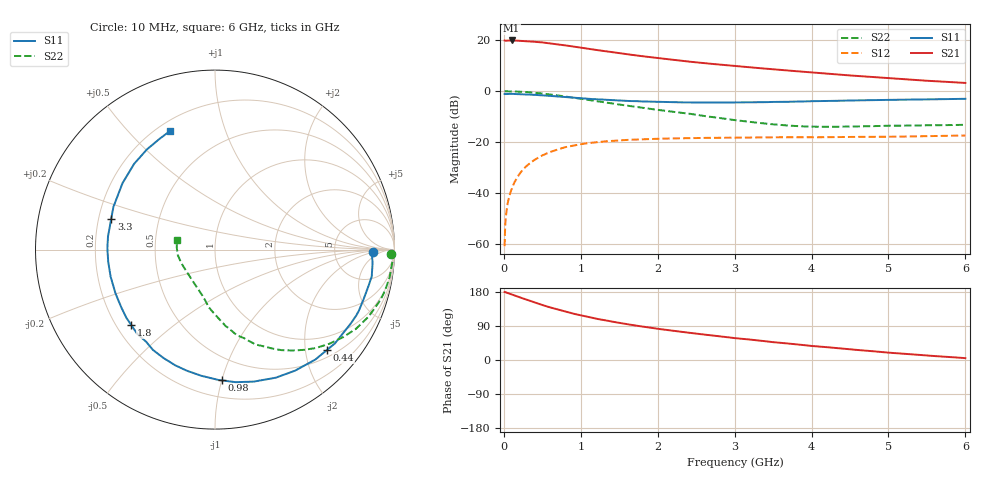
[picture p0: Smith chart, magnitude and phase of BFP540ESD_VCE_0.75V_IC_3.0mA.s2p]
! Infineon Technologies  Discrete & RF Semiconductors
! BFP540ESD
! VCE = 0.75 V,  IC =  3.0 mA
! Common Emitter S-Parameters:  Nov 2015
# GHz  S  MA  R  50
!  f  S11  S21  S12  S22
! GHz  MAG  ANG  MAG  ANG  MAG  ANG  MAG  ANG
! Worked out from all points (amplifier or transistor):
!   210 points, 10 MHz to 6 GHz, reference 50 ohm
!   highest |S21| = 19.9 dB at 100 MHz (marker M1)
!   |S21| within 3 dB of that: start of sweep to 1.039 GHz
!   unconditionally stable (mu >= 1): 3.799 GHz to end of sweep
!   at 185 MHz: K = 0.01, MSG = 26.6 dB, |S12| = -33.4 dB
!   at 1.52 GHz: K = 0.36, MSG = 17.1 dB, |S12| = -19.3 dB
!   at 6 GHz: K = 1.31, MAG = 7.0 dB, |S12| = -17.4 dB
!   S11 on the Smith chart (normalised r, x): 10 MHz: 15, -2; 440 MHz: 0.66, -2.47; 980 MHz: 0.32, -1.00; 1.8 GHz: 0.26, -0.36; 3.3 GHz: 0.25, +0.14; 6 GHz: 0.25, +0.66
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0.01  0.8781 -0.8  9.9 179.3  0.0009 81.5  0.9827 -1.3
0.02  0.8754 -2.3  9.781 179.0  0.0026 104.6  0.9942 -1.3
0.035  0.878 -3.6  9.826 177.8  0.0044 92.3  0.9931 -2.1
0.1  0.8859 -9.7  9.909 173.2  0.0118 85.4  0.9875 -6.0
0.26  0.8686 -24.9  9.675 161.8  0.0301 77.8  0.9673 -15.7
0.44  0.8379 -41.8  9.213 149.3  0.0486 68.6  0.919 -25.9
0.5  0.8294 -47.6  9.074 145.2  0.0546 66.0  0.9006 -29.4
0.6  0.8087 -56.5  8.668 138.8  0.0636 61.1  0.8634 -34.5
0.7  0.79 -64.6  8.321 133.4  0.0715 56.8  0.8258 -39.4
0.8  0.7664 -73.7  7.936 127.6  0.0794 52.6  0.7854 -44.3
0.98  0.7296 -87.0  7.225 118.8  0.0895 46.1  0.7155 -51.7
1.02  0.7215 -90.0  7.081 116.9  0.0916 44.7  0.7006 -53.3
1.2  0.6929 -103.0  6.455 109.0  0.0989 38.7  0.6372 -59.9
1.4  0.6688 -115.4  5.857 101.6  0.1053 33.5  0.5748 -66.9
1.8  0.6278 -138.0  4.857 88.2  0.1128 25.5  0.4726 -77.4
2.02  0.6131 -148.5  4.444 81.7  0.1163 22.0  0.426 -82.5
2.58  0.5988 -172.0  3.578 67.7  0.1204 14.9  0.329 -95.2
3.1  0.5996 169.8  3.029 55.9  0.1223 10.9  0.2592 -106.9
3.3  0.6031 163.4  2.851 51.8  0.1233 9.4  0.2393 -113.2
4.1  0.637 142.0  2.271 35.5  0.1243 4.5  0.1997 -144.3
5.1  0.6768 122.7  1.762 18.0  0.1275 1.6  0.2096 -174.1
6  0.7074 110.6  1.451 4.9  0.1345 0.3  0.2181 165.3
